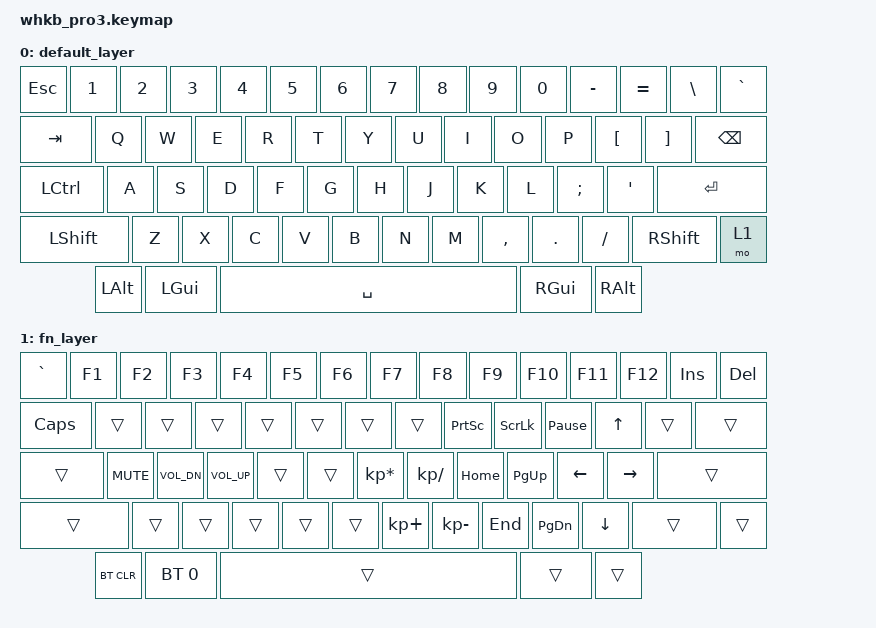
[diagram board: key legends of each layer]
/*
 * Copyright (c) 2025 Stefan Sundin (4pplet)
 * SPDX-License-Identifier: MIT
 */

#include <behaviors.dtsi>
#include <dt-bindings/zmk/keys.h>
#include <dt-bindings/zmk/bt.h>

/ {
    keymap {
        compatible = "zmk,keymap";

        default_layer {
            bindings = <
        &kp ESC   &kp N1 &kp N2 &kp N3 &kp N4 &kp N5 &kp N6 &kp N7 &kp N8 &kp N9 &kp N0 &kp MINUS &kp EQUAL &kp BSLH &kp GRAVE
        &kp TAB   &kp Q  &kp W  &kp E  &kp R  &kp T  &kp Y  &kp U  &kp I  &kp O  &kp P  &kp LBKT  &kp RBKT  &kp BSPC
        &kp LCTRL &kp A  &kp S  &kp D  &kp F  &kp G  &kp H  &kp J  &kp K  &kp L  &kp SEMI &kp SQT &kp RET
        &kp LSHFT &kp Z  &kp X  &kp C  &kp V  &kp B  &kp N  &kp M  &kp COMMA &kp DOT &kp FSLH &kp RSHFT &mo 1
        &kp LALT &kp LGUI &kp SPACE &kp RGUI &kp RALT
            >;
        };

        fn_layer {
            bindings = <
        &kp GRAVE &kp F1 &kp F2 &kp F3 &kp F4 &kp F5 &kp F6 &kp F7 &kp F8 &kp F9 &kp F10 &kp F11 &kp F12 &kp INS &kp DEL
        &kp CAPS  &trans &trans &trans &trans &trans &trans &trans &kp PSCRN &kp SLCK &kp PAUSE_BREAK &kp UP &trans &trans
        &trans    &kp K_MUTE &kp K_VOL_DN &kp K_VOL_UP &trans &trans &kp KP_ASTERISK &kp KP_SLASH &kp HOME &kp PG_UP &kp LEFT &kp RIGHT &trans
        &trans    &trans &trans &trans &trans &trans &kp KP_PLUS &kp KP_MINUS &kp END &kp PG_DN &kp DOWN &trans &trans
        &bt BT_CLR &bt BT_SEL 0 &trans &trans &trans
            >;
        };
    };
};
